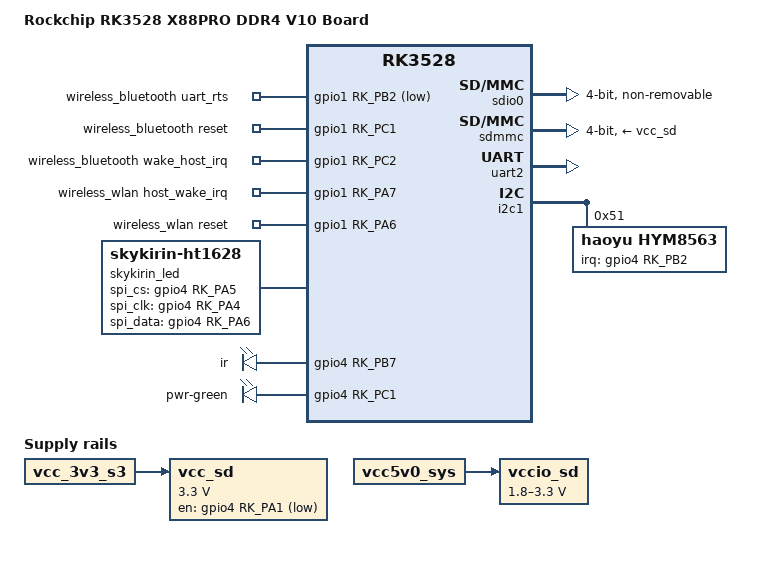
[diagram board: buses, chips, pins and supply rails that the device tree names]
// SPDX-License-Identifier: (GPL-2.0+ OR MIT)
/*
 * Copyright (c) 2022 Rockchip Electronics Co., Ltd.
 *
 */

/dts-v1/;

#include "rk3528.dtsi"
#include "rk3528-hugsun.dtsi"

/ {
	model = "Rockchip RK3528 X88PRO DDR4 V10 Board";
	compatible = "rockchip,rk3528-hugsun-x88pro-ddr4-v10", "rockchip,rk3528";
	
	/omit-if-no-ref/
	vcc_sd: vcc-sd {
		compatible = "regulator-fixed";
		regulator-boot-on;
		gpio = <&gpio4 RK_PA1 GPIO_ACTIVE_LOW>;
		regulator-name = "vcc_sd";
		regulator-min-microvolt = <3300000>;
		regulator-max-microvolt = <3300000>;
		vin-supply = <&vcc_3v3_s3>;
	};

	/omit-if-no-ref/
	vccio_sd: vccio-sd {
		compatible = "regulator-gpio";
		regulator-name = "vccio_sd";
		regulator-min-microvolt = <1800000>;
		regulator-max-microvolt = <3300000>;
		gpios = <&gpio4 RK_PB6 GPIO_ACTIVE_HIGH>;
		vin-supply = <&vcc5v0_sys>;
		states = <1800000 0x0
			  3300000 0x1>;
	};	

	sdio_pwrseq: sdio-pwrseq {
		compatible = "mmc-pwrseq-simple";
		pinctrl-names = "default";
		pinctrl-0 = <&wifi_enable_h  &clkm1_32k_out>;
		//reset-gpios = <&gpio1 RK_PA6 GPIO_ACTIVE_LOW>;
	};

	wireless_bluetooth: wireless-bluetooth {
		compatible = "bluetooth-platdata";
		//wifi-bt-power-toggle;
		uart_rts_gpios = <&gpio1 RK_PB2 GPIO_ACTIVE_LOW>;
		pinctrl-names = "default", "rts_gpio";
		pinctrl-0 = <&uart2m1_rtsn>;
		pinctrl-1 = <&uart2m1_gpios>;
		BT,reset_gpio    = <&gpio1 RK_PC1 GPIO_ACTIVE_HIGH>;
		BT,wake_host_irq = <&gpio1 RK_PC2 GPIO_ACTIVE_HIGH>;
		status = "okay";
	};

	wireless_wlan: wireless-wlan {
		compatible = "wlan-platdata";
		rockchip,grf = <&grf>;
		wifi_chip_type = "";
		pinctrl-names = "default";
		pinctrl-0 = <&wifi_host_wake_irq >;
		WIFI,host_wake_irq = <&gpio1 RK_PA7 GPIO_ACTIVE_HIGH>;
		WIFI,reset_gpio = <&gpio1 RK_PA6  GPIO_ACTIVE_HIGH>;
		status = "okay";
	};
	
	skykirin_led {
		compatible = "skykirin-ht1628";
		spi_cs = <&gpio4 RK_PA5 GPIO_ACTIVE_HIGH>;  //GPIO_C2
		spi_clk = <&gpio4 RK_PA4 GPIO_ACTIVE_HIGH>; //GPIO_C3
		spi_data = <&gpio4 RK_PA6 GPIO_ACTIVE_HIGH>; //GPIO_C6
		
		status = "okay";
	};

	leds: gpio-leds {
		compatible = "gpio-leds";
		ir {
			gpios = <&gpio4 RK_PB7 GPIO_ACTIVE_HIGH>;
			linux,default-trigger = "none";
			default-state = "off";
		};
		pwr-green {
			gpios = <&gpio4 RK_PC1 GPIO_ACTIVE_HIGH>;
			linux,default-trigger = "none";
			default-state = "off";
			retain-state-suspended;
			retain-state-shutdown;
		};
	};	
};

&sdio0 {
	max-frequency = <500000000>;
	no-sd;
	no-mmc;
	supports-sdio;
	bus-width = <4>;
	disable-wp;
	cap-sd-highspeed;
	cap-sdio-irq;
	keep-power-in-suspend;
	non-removable;
	mmc-pwrseq = <&sdio_pwrseq>;
	pinctrl-names = "default";
	pinctrl-0 = <&sdio0_bus4 &sdio0_cmd &sdio0_clk>;
	sd-uhs-sdr104;
	status = "okay";
};

&sdmmc {
	bus-width = <4>;
	cap-mmc-highspeed;
	cap-sd-highspeed;
	disable-wp;
	max-frequency = <150000000>;
	pinctrl-names = "default";
	pinctrl-0 = <&sdmmc_clk &sdmmc_cmd &sdmmc_det &sdmmc_bus4>;
	rockchip,default-sample-phase = <90>;
	supports-sd;
	sd-uhs-sdr12;
	sd-uhs-sdr25;
	sd-uhs-sdr50;
	sd-uhs-sdr104;
	vqmmc-supply = <&vccio_sd>;
	vmmc-supply = <&vcc_sd>;
	status = "okay";
};

&uart2 {
	status = "okay";
	pinctrl-names = "default";
	pinctrl-0 = <&uart2m1_xfer &uart2m1_ctsn>;
};

&i2c1 {
	status = "okay";
	pinctrl-names = "default";
	pinctrl-0 = <&i2c1m0_xfer>;
	i2c-scl-rising-time-ns = <100>;
	i2c-scl-falling-time-ns = <30>;

	hym8563: hym8563@51  {
		compatible = "haoyu,hym8563"; //"rtc,hym8563";
		reg = <0x51>;
		pinctrl-names = "default";
		pinctrl-0 = <&rtc_irq>;
		irq_gpio = <&gpio4 RK_PB2 IRQ_TYPE_EDGE_FALLING>;
		status = "okay";
	};
};

&pinctrl {
	wireless-wlan {
		wifi_host_wake_irq: wifi-host-wake-irq {
			rockchip,pins = <1 RK_PA7 RK_FUNC_GPIO &pcfg_pull_down>;
		};

		wifi_enable_h: wifi-enable-h {
			rockchip,pins = <1 RK_PA6 RK_FUNC_GPIO &pcfg_pull_none>;
		};
	};

	wireless-bluetooth {
		uart2m1_gpios: uart2m1-gpios {
			rockchip,pins = <1 RK_PB2 RK_FUNC_GPIO &pcfg_pull_none>;
		};
	};

	hym8563-irq {
		rtc_irq: rtc-irq {
			rockchip,pins =
				<4 RK_PB2 RK_FUNC_GPIO &pcfg_pull_none>;
		};
	};
};
